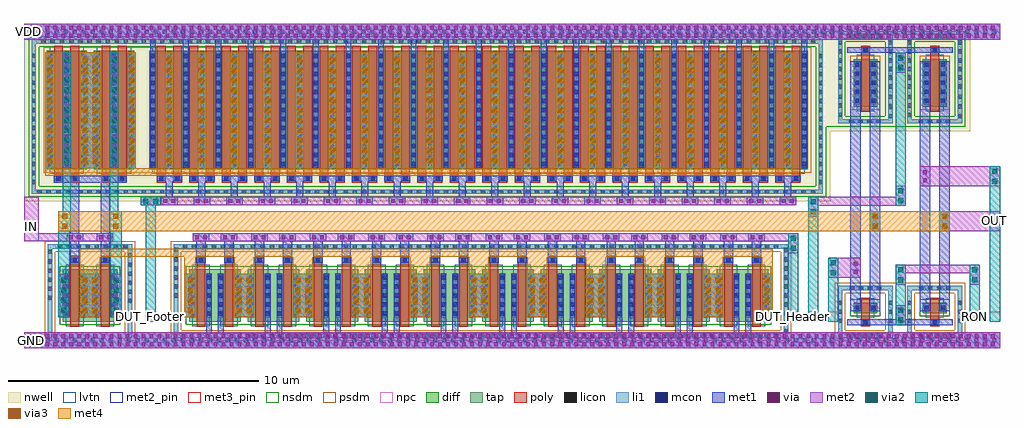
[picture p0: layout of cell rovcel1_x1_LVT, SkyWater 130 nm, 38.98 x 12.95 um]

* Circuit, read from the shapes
.subckt rovcel1_x1_LVT DUT_Footer DUT_Header Drain_Force Drain_Sense GND IN OUT RO RON VDD
XM1 n1 IN OUT GND sky130_fd_pr__nfet_01v8_lvt w=2.1 l=0.35 m=2
XM2 GND DUT_Header n1 GND sky130_fd_pr__nfet_01v8_lvt w=2.1 l=0.35 m=20
XM3 OUT RON Drain_Force GND sky130_fd_pr__nfet_01v8_lvt w=0.42 l=0.35
XM4 OUT RON Drain_Sense GND sky130_fd_pr__nfet_01v8_lvt w=0.42 l=0.35
XM5 OUT IN n2 VDD sky130_fd_pr__pfet_01v8_lvt w=4.75 l=0.35 m=4
XM6 n2 DUT_Footer VDD VDD sky130_fd_pr__pfet_01v8_lvt w=4.75 l=0.35 m=40
XM7 OUT RO Drain_Force VDD sky130_fd_pr__pfet_01v8_lvt w=1.9 l=0.35
XM8 OUT RO Drain_Sense VDD sky130_fd_pr__pfet_01v8_lvt w=1.9 l=0.35
.ends

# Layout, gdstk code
from math import pi, radians
import gdstk
lib = gdstk.Library(unit=1e-6, precision=1e-09)
def R(c, l, rs):  # rectangles x0, y0, x1, y1
    for r in rs: c.add(gdstk.rectangle(r[:2], r[2:], *l))
def A(c, l, x, y, w, h, nx, ny, dx, dy):  # array of equal rectangles
    R(c, l, [(x+i*dx, y+j*dy, x+i*dx+w, y+j*dy+h) for i in range(nx) for j in range(ny)])
def P(c, l, *ps):  # polygons
    for p in ps: c.add(gdstk.Polygon(p, *l))
nwell = (64, 20)
diff = (65, 20)
tap = (65, 44)
poly = (66, 20)
licon = (66, 44)
li1 = (67, 20)
mcon = (67, 44)
met1 = (68, 20)
via = (68, 44)
met2_pin = (69, 16)
met2 = (69, 20)
via2 = (69, 44)
met3_pin = (70, 16)
met3 = (70, 20)
via3 = (70, 44)
met4 = (71, 20)
nsdm = (93, 44)
psdm = (94, 20)
npc = (95, 20)
lvtn = (125, 44)

vias_gen_21 = lib.new_cell('vias_gen$21')
R(vias_gen_21, li1, [(0,0,38.975,0.64)])
A(vias_gen_21, mcon, 0.14, 0.235, 0.17, 0.17, 108, 1, 0.36, 0)
R(vias_gen_21, met1, [(0,0,38.975,0.64)])
A(vias_gen_21, via, 0.215, 0.085, 0.15, 0.15, 121, 2, 0.32, 0.32)
R(vias_gen_21, met2, [(0,0,38.975,0.64)])

pfet_4 = lib.new_cell('pfet$4')
R(pfet_4, nwell, [(-0.305,-0.72,1.255,5.13)])
R(pfet_4, diff, [(0,0,0.95,4.75)])
R(pfet_4, poly, [(0.3,-0.53,0.65,-0.2), (0.3,-0.2,0.65,4.95)])
A(pfet_4, licon, 0.065, 0.13, 0.17, 0.17, 1, 13, 0, 0.36)
A(pfet_4, licon, 0.715, 0.13, 0.17, 0.17, 1, 13, 0, 0.36)
R(pfet_4, licon, [(0.39,-0.45,0.56,-0.28)])
R(pfet_4, li1, [(0.31,-0.45,0.64,-0.28), (0.065,0.05,0.235,4.7), (0.715,0.05,0.885,4.7)])
A(pfet_4, mcon, 0.065, 0.13, 0.17, 0.17, 1, 13, 0, 0.36)
A(pfet_4, mcon, 0.715, 0.13, 0.17, 0.17, 1, 13, 0, 0.36)
R(pfet_4, mcon, [(0.39,-0.45,0.56,-0.28)])
R(pfet_4, met1, [(0.29,-0.48,0.66,-0.25), (0.035,0.07,0.265,4.68), (0.685,0.07,0.915,4.68)])
R(pfet_4, psdm, [(-0.125,-0.125,1.075,4.875)])
R(pfet_4, npc, [(0.29,-0.54,0.66,-0.19)])
R(pfet_4, lvtn, [(0.12,-0.18,0.83,4.93)])

vias_gen_28 = lib.new_cell('vias_gen$28')
R(vias_gen_28, met1, [(0,0,1.73,0.8)])
A(vias_gen_28, via, 0.15, 0.165, 0.15, 0.15, 5, 2, 0.32, 0.32)
R(vias_gen_28, met2, [(0,0,1.73,0.8)])
A(vias_gen_28, via2, 0.165, 0.1, 0.2, 0.2, 4, 2, 0.4, 0.4)
R(vias_gen_28, met3, [(0,0,1.73,0.8)])
A(vias_gen_28, via3, 0.165, 0.1, 0.2, 0.2, 4, 2, 0.4, 0.4)
R(vias_gen_28, met4, [(0,0,1.73,0.8)])

nfet = lib.new_cell('nfet')
R(nfet, diff, [(0,0,0.95,2.1)])
R(nfet, poly, [(0.3,-0.2,0.65,2.3), (0.3,2.3,0.65,2.63)])
A(nfet, licon, 0.065, 0.245, 0.17, 0.17, 1, 5, 0, 0.36)
A(nfet, licon, 0.715, 0.245, 0.17, 0.17, 1, 5, 0, 0.36)
R(nfet, licon, [(0.39,2.38,0.56,2.55)])
R(nfet, li1, [(0.065,0.165,0.235,1.935), (0.715,0.165,0.885,1.935), (0.31,2.38,0.64,2.55)])
A(nfet, mcon, 0.065, 0.245, 0.17, 0.17, 1, 5, 0, 0.36)
A(nfet, mcon, 0.715, 0.245, 0.17, 0.17, 1, 5, 0, 0.36)
R(nfet, mcon, [(0.39,2.38,0.56,2.55)])
R(nfet, met1, [(0.035,0.185,0.265,1.915), (0.685,0.185,0.915,1.915), (0.29,2.35,0.66,2.58)])
R(nfet, nsdm, [(-0.125,-0.125,1.075,2.225)])
R(nfet, npc, [(0.29,2.29,0.66,2.64)])
R(nfet, lvtn, [(0.12,-0.18,0.83,2.28)])

nfet_4 = lib.new_cell('nfet$4')
R(nfet_4, diff, [(0,0,0.95,0.42)])
R(nfet_4, poly, [(0.3,-0.53,0.65,-0.2), (0.3,-0.2,0.65,0.62)])
R(nfet_4, licon, [(0.39,-0.45,0.56,-0.28), (0.065,0.125,0.235,0.295), (0.715,0.125,0.885,0.295)])
R(nfet_4, li1, [(0.31,-0.45,0.64,-0.28), (0.065,0.045,0.235,0.375), (0.715,0.045,0.885,0.375)])
R(nfet_4, mcon, [(0.39,-0.45,0.56,-0.28), (0.065,0.125,0.235,0.295), (0.715,0.125,0.885,0.295)])
R(nfet_4, met1, [(0.29,-0.48,0.66,-0.25), (0.005,0.065,0.295,0.355), (0.655,0.065,0.945,0.355)])
R(nfet_4, nsdm, [(-0.125,-0.125,1.075,0.545)])
R(nfet_4, npc, [(0.29,-0.54,0.66,-0.19)])
R(nfet_4, lvtn, [(0.12,-0.18,0.83,0.6)])

vias_gen_43 = lib.new_cell('vias_gen$43')
R(vias_gen_43, met1, [(0,0,4.63,0.33)])
A(vias_gen_43, via, 0.16, 0.09, 0.15, 0.15, 14, 1, 0.32, 0)
R(vias_gen_43, met2, [(0,0,4.63,0.33)])
A(vias_gen_43, via2, 0.215, 0.065, 0.2, 0.2, 11, 1, 0.4, 0)
R(vias_gen_43, met3, [(0,0,4.63,0.33)])
A(vias_gen_43, via3, 0.215, 0.065, 0.2, 0.2, 11, 1, 0.4, 0)
R(vias_gen_43, met4, [(0,0,4.63,0.33)])

vias_gen_37 = lib.new_cell('vias_gen$37')
R(vias_gen_37, met2, [(0,0,0.4,0.8)])
R(vias_gen_37, via2, [(0.1,0.1,0.3,0.3), (0.1,0.5,0.3,0.7)])
R(vias_gen_37, met3, [(0,0,0.4,0.8)])

vias_gen_20 = lib.new_cell('vias_gen$20')
R(vias_gen_20, met1, [(0,0,0.42,0.8)])
R(vias_gen_20, via, [(0.135,0.165,0.285,0.315), (0.135,0.485,0.285,0.635)])
R(vias_gen_20, met2, [(0,0,0.42,0.8)])

vias_gen_22 = lib.new_cell('vias_gen$22')
R(vias_gen_22, met1, [(0,0,0.42,0.8)])
R(vias_gen_22, via, [(0.135,0.165,0.285,0.315), (0.135,0.485,0.285,0.635)])
R(vias_gen_22, met2, [(0,0,0.42,0.8)])
R(vias_gen_22, via2, [(0.11,0.1,0.31,0.3), (0.11,0.5,0.31,0.7)])
R(vias_gen_22, met3, [(0,0,0.42,0.8)])
R(vias_gen_22, via3, [(0.11,0.1,0.31,0.3), (0.11,0.5,0.31,0.7)])
R(vias_gen_22, met4, [(0,0,0.42,0.8)])

vias_gen_18 = lib.new_cell('vias_gen$18')
R(vias_gen_18, met1, [(0,0,0.4,0.8)])
R(vias_gen_18, via, [(0.125,0.165,0.275,0.315), (0.125,0.485,0.275,0.635)])
R(vias_gen_18, met2, [(0,0,0.4,0.8)])
R(vias_gen_18, via2, [(0.1,0.1,0.3,0.3), (0.1,0.5,0.3,0.7)])
R(vias_gen_18, met3, [(0,0,0.4,0.8)])

vias_gen_33 = lib.new_cell('vias_gen$33')
R(vias_gen_33, met1, [(0,0,0.66,0.33)])
R(vias_gen_33, via, [(0.095,0.09,0.245,0.24), (0.415,0.09,0.565,0.24)])
R(vias_gen_33, met2, [(0,0,0.66,0.33)])

pfet_5 = lib.new_cell('pfet$5')
R(pfet_5, nwell, [(-0.305,-0.38,1.255,2.62)])
R(pfet_5, diff, [(0,0,0.95,1.9)])
R(pfet_5, poly, [(0.3,-0.2,0.65,2.1), (0.3,2.1,0.65,2.43)])
A(pfet_5, licon, 0.065, 0.145, 0.17, 0.17, 1, 5, 0, 0.36)
A(pfet_5, licon, 0.715, 0.145, 0.17, 0.17, 1, 5, 0, 0.36)
R(pfet_5, licon, [(0.39,2.18,0.56,2.35)])
R(pfet_5, li1, [(0.065,0.065,0.235,1.835), (0.715,0.065,0.885,1.835), (0.31,2.18,0.64,2.35)])
A(pfet_5, mcon, 0.065, 0.145, 0.17, 0.17, 1, 5, 0, 0.36)
A(pfet_5, mcon, 0.715, 0.145, 0.17, 0.17, 1, 5, 0, 0.36)
R(pfet_5, mcon, [(0.39,2.18,0.56,2.35)])
R(pfet_5, met1, [(0.035,0.085,0.265,1.815), (0.685,0.085,0.915,1.815), (0.29,2.15,0.66,2.38)])
R(pfet_5, psdm, [(-0.125,-0.125,1.075,2.025)])
R(pfet_5, npc, [(0.29,2.09,0.66,2.44)])
R(pfet_5, lvtn, [(0.12,-0.18,0.83,2.08)])

vias_gen_27 = lib.new_cell('vias_gen$27')
R(vias_gen_27, met1, [(0,0,1.73,0.45)])
A(vias_gen_27, via, 0.15, 0.15, 0.15, 0.15, 5, 1, 0.32, 0)
R(vias_gen_27, met2, [(0,0,1.73,0.45)])
A(vias_gen_27, via2, 0.165, 0.125, 0.2, 0.2, 4, 1, 0.4, 0)
R(vias_gen_27, met3, [(0,0,1.73,0.45)])
A(vias_gen_27, via3, 0.165, 0.125, 0.2, 0.2, 4, 1, 0.4, 0)
R(vias_gen_27, met4, [(0,0,1.73,0.45)])

vias_gen_30 = lib.new_cell('vias_gen$30')
R(vias_gen_30, met1, [(0,0,0.82,1.73)])
A(vias_gen_30, via, 0.175, 0.15, 0.15, 0.15, 1, 5, 0, 0.32)
A(vias_gen_30, via, 0.495, 0.15, 0.15, 0.15, 1, 5, 0, 0.32)
R(vias_gen_30, met2, [(0,0,0.82,1.73)])
A(vias_gen_30, via2, 0.11, 0.165, 0.2, 0.2, 1, 4, 0, 0.4)
A(vias_gen_30, via2, 0.51, 0.165, 0.2, 0.2, 1, 4, 0, 0.4)
R(vias_gen_30, met3, [(0,0,0.82,1.73)])
A(vias_gen_30, via3, 0.11, 0.165, 0.2, 0.2, 1, 4, 0, 0.4)
A(vias_gen_30, via3, 0.51, 0.165, 0.2, 0.2, 1, 4, 0, 0.4)
R(vias_gen_30, met4, [(0,0,0.82,1.73)])

vias_gen_16 = lib.new_cell('vias_gen$16')
R(vias_gen_16, met1, [(0,0,4.61,0.33)])
A(vias_gen_16, via, 0.15, 0.09, 0.15, 0.15, 14, 1, 0.32, 0)
R(vias_gen_16, met2, [(0,0,4.61,0.33)])
A(vias_gen_16, via2, 0.205, 0.065, 0.2, 0.2, 11, 1, 0.4, 0)
R(vias_gen_16, met3, [(0,0,4.61,0.33)])

vias_gen_36 = lib.new_cell('vias_gen$36')
R(vias_gen_36, met2, [(0,0,0.8,0.33)])
R(vias_gen_36, via2, [(0.1,0.065,0.3,0.265), (0.5,0.065,0.7,0.265)])
R(vias_gen_36, met3, [(0,0,0.8,0.33)])

vias_gen_34 = lib.new_cell('vias_gen$34')
R(vias_gen_34, met3, [(0,0,0.5,0.8)])
R(vias_gen_34, via3, [(0.15,0.1,0.35,0.3), (0.15,0.5,0.35,0.7)])
R(vias_gen_34, met4, [(0,0,0.5,0.8)])

vias_gen_31 = lib.new_cell('vias_gen$31')
R(vias_gen_31, met3, [(0,0,0.47,0.8)])
R(vias_gen_31, via3, [(0.135,0.1,0.335,0.3), (0.135,0.5,0.335,0.7)])
R(vias_gen_31, met4, [(0,0,0.47,0.8)])

vias_gen_12 = lib.new_cell('vias_gen$12')
R(vias_gen_12, met1, [(0,0,1.73,0.45)])
A(vias_gen_12, via, 0.15, 0.15, 0.15, 0.15, 5, 1, 0.32, 0)
R(vias_gen_12, met2, [(0,0,1.73,0.45)])
A(vias_gen_12, via2, 0.165, 0.125, 0.2, 0.2, 4, 1, 0.4, 0)
R(vias_gen_12, met3, [(0,0,1.73,0.45)])

vias_gen_55 = lib.new_cell('vias_gen$55')
R(vias_gen_55, met1, [(0,0,0.82,4.63)])
A(vias_gen_55, via, 0.175, 0.16, 0.15, 0.15, 1, 14, 0, 0.32)
A(vias_gen_55, via, 0.495, 0.16, 0.15, 0.15, 1, 14, 0, 0.32)
R(vias_gen_55, met2, [(0,0,0.82,4.63)])
A(vias_gen_55, via2, 0.11, 0.215, 0.2, 0.2, 1, 11, 0, 0.4)
A(vias_gen_55, via2, 0.51, 0.215, 0.2, 0.2, 1, 11, 0, 0.4)
R(vias_gen_55, met3, [(0,0,0.82,4.63)])
A(vias_gen_55, via3, 0.11, 0.215, 0.2, 0.2, 1, 11, 0, 0.4)
A(vias_gen_55, via3, 0.51, 0.215, 0.2, 0.2, 1, 11, 0, 0.4)
R(vias_gen_55, met4, [(0,0,0.82,4.63)])

vias_gen_56 = lib.new_cell('vias_gen$56')
R(vias_gen_56, met1, [(0,0,0.38,4.63)])
A(vias_gen_56, via, 0.115, 0.16, 0.15, 0.15, 1, 14, 0, 0.32)
R(vias_gen_56, met2, [(0,0,0.38,4.63)])
A(vias_gen_56, via2, 0.09, 0.215, 0.2, 0.2, 1, 11, 0, 0.4)
R(vias_gen_56, met3, [(0,0,0.38,4.63)])
A(vias_gen_56, via3, 0.09, 0.215, 0.2, 0.2, 1, 11, 0, 0.4)
R(vias_gen_56, met4, [(0,0,0.38,4.63)])

vias_gen = lib.new_cell('vias_gen')

pfet_2 = lib.new_cell('pfet$2')

vias_gen_2 = lib.new_cell('vias_gen$2')

vias_gen_10 = lib.new_cell('vias_gen$10')

vias_gen_7 = lib.new_cell('vias_gen$7')

vias_gen_6 = lib.new_cell('vias_gen$6')

nfet_2 = lib.new_cell('nfet$2')

rovcel1_x1_lvt = lib.new_cell('rovcel1_x1_LVT')
R(rovcel1_x1_lvt, nwell, [(0.005,18.995,32.21,25.775), (32.21,21.805,35,25.965), (35,21.805,37.79,25.965)])
A(rovcel1_x1_lvt, diff, 7.545, 14.19, 0.17, 2.1, 4, 1, 2.34, 0)
A(rovcel1_x1_lvt, diff, 16.91, 14.19, 0.17, 2.1, 6, 1, 2.34, 0)
R(rovcel1_x1_lvt, diff, [(2.51,14.19,2.77,16.29)])
R(rovcel1_x1_lvt, tap, [(0.96,13.555,1.13,17.275), (4.15,13.555,4.32,17.275), (5.995,13.555,6.165,17.275), (6.165,13.555,30.345,13.725), (30.345,13.555,30.515,17.275), (1.13,17.105,4.15,17.275), (6.165,17.105,30.345,17.275), (0.31,19.3,31.91,19.47), (0.48,19.3,4.36,19.47), (31.74,19.3,31.91,25.3), (0.31,19.305,0.48,25.305), (0.31,25.3,31.91,25.47)])
P(rovcel1_x1_lvt, tap, [(32.515,22.11),(32.515,25.49),(32.685,25.49),(32.685,22.28),(34.525,22.28),(34.525,25.49),(32.515,25.49),(32.515,25.66),(34.695,25.66),(34.695,22.11)],
  [(35.285,22.11),(35.285,25.49),(35.455,25.49),(35.455,22.28),(37.295,22.28),(37.295,25.49),(35.285,25.49),(35.285,25.66),(37.465,25.66),(37.465,22.11)],
  [(32.515,22.11),(32.515,25.49),(32.685,25.49),(32.685,22.28),(34.525,22.28),(34.525,25.49),(32.515,25.49),(32.515,25.66),(34.695,25.66),(34.695,22.11)],
  [(32.515,13.555),(32.515,15.455),(32.685,15.455),(32.685,13.725),(34.525,13.725),(34.525,15.455),(32.515,15.455),(32.515,15.625),(34.695,15.625),(34.695,13.555)],
  [(35.285,13.555),(35.285,15.455),(35.455,15.455),(35.455,13.725),(37.295,13.725),(37.295,15.455),(35.285,15.455),(35.285,15.625),(37.465,15.625),(37.465,13.555)])
A(rovcel1_x1_lvt, licon, 9.825, 13.555, 0.17, 0.17, 8, 2, 0.36, 3.55)
A(rovcel1_x1_lvt, licon, 13.13, 13.555, 0.17, 0.17, 3, 2, 0.38, 3.55)
A(rovcel1_x1_lvt, licon, 14.25, 13.555, 0.17, 0.17, 9, 2, 0.36, 3.55)
A(rovcel1_x1_lvt, licon, 17.89, 13.555, 0.17, 0.17, 8, 2, 0.36, 3.55)
A(rovcel1_x1_lvt, licon, 20.81, 13.555, 0.17, 0.17, 6, 2, 0.36, 3.55)
A(rovcel1_x1_lvt, licon, 23.395, 13.555, 0.17, 0.17, 3, 2, 0.38, 3.55)
A(rovcel1_x1_lvt, licon, 24.515, 13.555, 0.17, 0.17, 9, 2, 0.36, 3.55)
A(rovcel1_x1_lvt, licon, 28.155, 13.555, 0.17, 0.17, 6, 2, 0.36, 3.55)
A(rovcel1_x1_lvt, licon, 32.98, 13.555, 0.17, 0.17, 4, 2, 0.36, 1.9)
A(rovcel1_x1_lvt, licon, 35.75, 13.555, 0.17, 0.17, 4, 2, 0.36, 1.9)
A(rovcel1_x1_lvt, licon, 30.345, 14.07, 0.17, 0.17, 1, 8, 0, 0.36)
A(rovcel1_x1_lvt, licon, 32.515, 14.145, 0.17, 0.17, 1, 3, 0, 0.36)
A(rovcel1_x1_lvt, licon, 34.525, 14.145, 0.17, 0.17, 1, 3, 0, 0.36)
A(rovcel1_x1_lvt, licon, 35.285, 14.145, 0.17, 0.17, 1, 3, 0, 0.36)
A(rovcel1_x1_lvt, licon, 37.295, 14.145, 0.17, 0.17, 1, 3, 0, 0.36)
A(rovcel1_x1_lvt, licon, 4.15, 14.94, 0.17, 0.17, 1, 5, 0, 0.36)
A(rovcel1_x1_lvt, licon, 0.96, 15.065, 0.17, 0.17, 1, 5, 0, 0.36)
A(rovcel1_x1_lvt, licon, 5.995, 15.15, 0.17, 0.17, 1, 5, 0, 0.36)
A(rovcel1_x1_lvt, licon, 2.11, 17.105, 0.17, 0.17, 3, 1, 0.36, 0)
A(rovcel1_x1_lvt, licon, 7.145, 17.105, 0.17, 0.17, 3, 1, 0.36, 0)
A(rovcel1_x1_lvt, licon, 2.18, 19.3, 0.17, 0.17, 7, 2, 0.36, 6)
A(rovcel1_x1_lvt, licon, 5.065, 19.3, 0.17, 0.17, 3, 2, 0.38, 6)
A(rovcel1_x1_lvt, licon, 6.185, 19.3, 0.17, 0.17, 9, 2, 0.36, 6)
A(rovcel1_x1_lvt, licon, 9.825, 19.3, 0.17, 0.17, 8, 2, 0.36, 6)
A(rovcel1_x1_lvt, licon, 13.13, 19.3, 0.17, 0.17, 3, 2, 0.38, 6)
A(rovcel1_x1_lvt, licon, 14.25, 19.3, 0.17, 0.17, 9, 2, 0.36, 6)
A(rovcel1_x1_lvt, licon, 17.89, 19.3, 0.17, 0.17, 8, 2, 0.36, 6)
A(rovcel1_x1_lvt, licon, 20.81, 19.3, 0.17, 0.17, 6, 2, 0.36, 6)
A(rovcel1_x1_lvt, licon, 23.395, 19.3, 0.17, 0.17, 3, 2, 0.38, 6)
A(rovcel1_x1_lvt, licon, 24.515, 19.3, 0.17, 0.17, 9, 2, 0.36, 6)
A(rovcel1_x1_lvt, licon, 28.155, 19.3, 0.17, 0.17, 8, 2, 0.36, 6)
A(rovcel1_x1_lvt, licon, 31.74, 19.68, 0.17, 0.17, 1, 15, 0, 0.36)
A(rovcel1_x1_lvt, licon, 0.31, 19.685, 0.17, 0.17, 1, 15, 0, 0.36)
A(rovcel1_x1_lvt, licon, 32.965, 22.11, 0.17, 0.17, 4, 1, 0.36, 0)
A(rovcel1_x1_lvt, licon, 35.735, 22.11, 0.17, 0.17, 4, 1, 0.36, 0)
A(rovcel1_x1_lvt, licon, 35.285, 24.54, 0.17, 0.17, 1, 3, 0, 0.36)
A(rovcel1_x1_lvt, licon, 37.295, 24.54, 0.17, 0.17, 1, 3, 0, 0.36)
A(rovcel1_x1_lvt, licon, 1.06, 25.3, 0.17, 0.17, 3, 1, 0.38, 0)
A(rovcel1_x1_lvt, licon, 32.98, 25.49, 0.17, 0.17, 4, 1, 0.36, 0)
A(rovcel1_x1_lvt, licon, 35.75, 25.49, 0.17, 0.17, 4, 1, 0.36, 0)
R(rovcel1_x1_lvt, licon, [(8.535,13.555,8.705,13.725), (8.98,13.555,9.15,13.725), (9.445,13.555,9.615,13.725), (12.77,13.555,12.94,13.725), (17.51,13.555,17.68,13.725), (23.035,13.555,23.205,13.725), (27.775,13.555,27.945,13.725), (30.345,13.725,30.515,13.895), (4.15,16.755,4.32,16.925), (0.96,16.9,1.13,17.07), (30.345,16.97,30.515,17.14), (5.995,16.975,6.165,17.145), (3.19,17.1,3.36,17.27), (8.225,17.1,8.395,17.27), (1.36,17.105,1.53,17.275), (1.72,17.105,1.89,17.275), (3.585,17.105,3.755,17.275), (3.97,17.105,4.14,17.275), (6.35,17.105,6.52,17.275), (6.71,17.105,6.88,17.275), (8.635,17.105,8.805,17.275), (9.055,17.105,9.225,17.275), (9.445,17.105,9.615,17.275), (12.77,17.105,12.94,17.275), (17.51,17.105,17.68,17.275), (23.035,17.105,23.205,17.275), (27.775,17.105,27.945,17.275), (0.54,19.3,0.71,19.47), (0.9,19.3,1.07,19.47), (1.295,19.3,1.465,19.47), (1.295,19.3,1.465,19.47), (1.69,19.3,1.86,19.47), (1.69,19.3,1.86,19.47), (4.705,19.3,4.875,19.47), (9.445,19.3,9.615,19.47), (12.77,19.3,12.94,19.47), (17.51,19.3,17.68,19.47), (23.035,19.3,23.205,19.47), (27.775,19.3,27.945,19.47), (31.045,19.3,31.215,19.47), (31.44,19.3,31.61,19.47), (34.525,22.315,34.695,22.485), (37.295,22.315,37.465,22.485), (32.515,22.375,32.685,22.545), (35.285,22.375,35.455,22.545), (34.525,22.695,34.695,22.865), (37.295,22.695,37.465,22.865), (32.515,22.735,32.685,22.905), (35.285,22.735,35.455,22.905), (32.515,23.09,32.685,23.26), (34.525,23.09,34.695,23.26), (35.285,23.09,35.455,23.26), (37.295,23.09,37.465,23.26), (32.515,23.495,32.685,23.665), (34.525,23.495,34.695,23.665), (35.285,23.495,35.455,23.665), (37.295,23.495,37.465,23.665), (32.515,23.855,32.685,24.025), (34.525,23.855,34.695,24.025), (35.285,23.855,35.455,24.025), (37.295,23.855,37.465,24.025), (32.515,24.2,32.685,24.37), (34.525,24.2,34.695,24.37), (35.285,24.2,35.455,24.37), (37.295,24.2,37.465,24.37), (32.515,24.54,32.685,24.71), (34.525,24.54,34.695,24.71), (32.515,24.9,32.685,25.07), (34.525,24.9,34.695,25.07), (32.515,25.25,32.685,25.42), (34.525,25.25,34.695,25.42), (0.7,25.3,0.87,25.47), (4.705,25.3,4.875,25.47), (9.445,25.3,9.615,25.47), (12.77,25.3,12.94,25.47), (17.51,25.3,17.68,25.47), (23.035,25.3,23.205,25.47), (27.775,25.3,27.945,25.47), (31.045,25.3,31.215,25.47), (31.44,25.3,31.61,25.47)])
R(rovcel1_x1_lvt, li1, [(0.96,13.555,1.13,17.275), (4.15,13.555,4.32,17.275), (5.995,13.555,6.165,17.275), (6.165,13.555,30.345,13.725), (30.345,13.555,30.515,17.275), (1.13,17.105,4.15,17.275), (6.165,17.105,30.345,17.275), (0.31,19.3,31.91,19.47), (31.74,19.3,31.91,25.3), (0.31,19.305,0.48,25.305), (0.31,25.3,31.91,25.47)])
P(rovcel1_x1_lvt, li1, [(32.515,22.11),(32.515,25.49),(32.685,25.49),(32.685,22.28),(34.525,22.28),(34.525,25.49),(32.515,25.49),(32.515,25.66),(34.695,25.66),(34.695,22.11)],
  [(35.285,22.11),(35.285,25.49),(35.455,25.49),(35.455,22.28),(37.295,22.28),(37.295,25.49),(35.285,25.49),(35.285,25.66),(37.465,25.66),(37.465,22.11)],
  [(32.515,13.555),(32.515,15.455),(32.685,15.455),(32.685,13.725),(34.525,13.725),(34.525,15.455),(32.515,15.455),(32.515,15.625),(34.695,15.625),(34.695,13.555)],
  [(35.285,13.555),(35.285,15.455),(35.455,15.455),(35.455,13.725),(37.295,13.725),(37.295,15.455),(35.285,15.455),(35.285,15.625),(37.465,15.625),(37.465,13.555)])
R(rovcel1_x1_lvt, mcon, [(33.52,14.085,33.69,14.255)])
A(rovcel1_x1_lvt, met1, 5.67, 19.175, 0.28, 0.845, 20, 1, 1.3, 0)
A(rovcel1_x1_lvt, met1, 5.045, 24.95, 0.23, 0.495, 21, 1, 1.3, 0)
R(rovcel1_x1_lvt, met1, [(7.28,13.775,7.51,14.375), (7.75,13.775,7.98,14.375), (9.62,13.775,9.85,14.375), (10.09,13.775,10.32,14.375), (10.09,13.775,10.32,14.375), (11.96,13.775,12.19,14.375), (12.43,13.775,12.66,14.375), (14.3,13.775,14.53,14.375), (14.77,13.775,15,14.375), (16.645,13.775,16.875,14.375), (17.115,13.775,17.345,14.375), (18.985,13.775,19.215,14.375), (19.455,13.775,19.685,14.375), (21.325,13.775,21.555,14.375), (21.795,13.775,22.025,14.375), (23.665,13.775,23.895,14.375), (24.135,13.775,24.365,14.375), (26.005,13.775,26.235,14.375), (26.475,13.775,26.705,14.375), (28.345,13.775,28.575,14.375), (28.815,13.775,29.045,14.375), (32.88,14.055,34.33,14.285), (33.42,14.055,33.79,14.285), (34.33,14.055,35.65,14.285), (35.65,14.055,37.1,14.285), (33.005,14.6,33.425,24.595), (33.785,14.6,34.205,24.595), (35.775,14.6,36.195,24.6), (36.555,14.6,36.975,24.6), (1.85,16.77,2.22,17.4), (3.06,16.77,3.43,17.4), (6.885,16.77,7.255,17.73), (8.005,16.77,8.375,17.73), (9.225,16.77,9.595,17.73), (10.345,16.77,10.715,17.73), (11.565,16.77,11.935,17.73), (12.685,16.77,13.055,17.73), (13.905,16.77,14.275,17.73), (15.025,16.77,15.395,17.73), (16.25,16.77,16.62,17.73), (17.37,16.77,17.74,17.73), (18.59,16.77,18.96,17.73), (19.71,16.77,20.08,17.73), (20.93,16.77,21.3,17.73), (22.05,16.77,22.42,17.73), (23.27,16.77,23.64,17.73), (24.39,16.77,24.76,17.73), (25.61,16.77,25.98,17.73), (26.73,16.77,27.1,17.73), (27.95,16.77,28.32,17.73), (29.07,16.77,29.44,17.73), (1.85,17.73,2.22,20.02), (3.06,17.73,3.43,20.02), (1.2,19.73,4.11,20.02), (32.88,24.93,34.33,25.16), (34.33,24.93,35.65,25.16), (35.65,24.93,37.1,25.16)])
R(rovcel1_x1_lvt, met2_pin, [(0.005,13.135,38.98,13.775), (0.005,17.4,0.595,19.18), (0.005,17.4,0.595,19.18), (38.58,17.8,38.98,18.6), (0.005,25.445,38.98,26.085)])
R(rovcel1_x1_lvt, met2, [(32.515,15.945,33.005,16.745), (34.81,16.125,37.78,16.475), (0.005,17.4,3.575,17.73), (6.74,17.4,30.915,17.73), (0.005,17.73,0.595,19.18), (0.005,17.73,0.595,19.18), (36.975,17.8,38.98,18.6), (31.715,18.825,34.81,19.175), (5.475,18.845,30.835,19.175), (36.195,19.595,38.58,20.395)])
A(rovcel1_x1_lvt, met3_pin, 30.515, 14.19, 0.4, 0.4, 3, 1, 0.8, 0)
R(rovcel1_x1_lvt, met3_pin, [(4.875,14.19,5.275,14.59), (37.78,14.19,38.18,14.59), (38.58,14.19,38.98,14.59)])
R(rovcel1_x1_lvt, met3, [(4.875,14.19,5.275,18.845), (30.515,14.19,30.915,16.93), (31.315,14.19,31.715,18.375), (32.115,14.19,32.515,15.945), (37.78,14.19,38.18,15.675), (38.58,14.19,38.98,19.595), (34.81,14.855,35.21,15.675), (1.375,16.105,1.825,17.8), (1.545,18.6,1.875,20.34), (3.435,18.6,3.765,20.34), (34.81,19.625,35.21,24.13)])
P(rovcel1_x1_lvt, met3, [(3.455,16.105),(3.455,17.8),(3.54,17.8),(3.905,17.8),(3.905,16.105)])
A(rovcel1_x1_lvt, met4, 8.4, 16.105, 0.8, 0.68, 5, 1, 2.34, 0)
A(rovcel1_x1_lvt, met4, 20.105, 16.105, 0.8, 0.68, 4, 1, 2.34, 0)
R(rovcel1_x1_lvt, met4, [(2.23,16.105,3.05,16.785), (6.41,16.105,6.86,16.785), (29.465,16.105,29.915,16.785), (2.23,16.785,29.915,17.105), (1.875,17.8,36.975,18.6), (0.845,20.02,30.675,20.32)])
R(rovcel1_x1_lvt, nsdm, [(2.635,14.065,2.645,16.415), (6.47,14.065,29.855,16.415), (0.185,19.175,32.035,19.595), (0.605,19.175,32.035,19.595), (0.185,19.595,0.605,25.175), (31.615,19.595,32.035,25.175), (32.035,21.985,32.39,25.785), (34.82,21.985,35.16,25.785), (0.185,25.175,32.035,25.595)])
P(rovcel1_x1_lvt, nsdm, [(32.39,21.985),(32.39,25.365),(32.81,25.365),(32.81,22.405),(34.4,22.405),(34.4,25.365),(32.39,25.365),(32.39,25.785),(34.82,25.785),(34.82,21.985)],
  [(35.16,21.985),(35.16,25.365),(35.58,25.365),(35.58,22.405),(37.17,22.405),(37.17,25.365),(35.16,25.365),(35.16,25.785),(37.59,25.785),(37.59,21.985)])
R(rovcel1_x1_lvt, psdm, [(0.835,13.43,1.255,17.4), (4.025,13.43,4.445,17.4), (5.87,13.43,6.29,17.4), (6.29,13.43,30.22,13.85), (30.22,13.43,30.64,17.4), (34.82,13.43,35.16,15.75), (1.255,16.98,4.025,17.4), (6.29,16.98,30.22,17.4), (2.635,20.145,4.885,25.145)])
P(rovcel1_x1_lvt, psdm, [(32.39,13.43),(32.39,15.33),(32.81,15.33),(32.81,13.85),(34.4,13.85),(34.4,15.33),(32.39,15.33),(32.39,15.75),(34.82,15.75),(34.82,13.43)],
  [(35.16,13.43),(35.16,15.33),(35.58,15.33),(35.58,13.85),(37.17,13.85),(37.17,15.33),(35.16,15.33),(35.16,15.75),(37.59,15.75),(37.59,13.43)])
rovcel1_x1_lvt.add(gdstk.Reference(vias_gen_21, (0.005,25.445)))
rovcel1_x1_lvt.add(gdstk.Reference(pfet_4, (14.76,20.27)))
rovcel1_x1_lvt.add(gdstk.Reference(pfet_4, (15.41,20.27)))
rovcel1_x1_lvt.add(gdstk.Reference(vias_gen_21, (0.005,13.135)))
rovcel1_x1_lvt.add(gdstk.Reference(vias_gen_28, (16.22,14.375), rotation=pi/2))
rovcel1_x1_lvt.add(gdstk.Reference(nfet, (15.685,14.19), rotation=pi, x_reflection=True))
rovcel1_x1_lvt.add(gdstk.Reference(nfet_4, (33.13,14.535)))
rovcel1_x1_lvt.add(gdstk.Reference(nfet_4, (35.9,14.535)))
rovcel1_x1_lvt.add(gdstk.Reference(vias_gen_43, (29.375,20.32), rotation=pi/2))
rovcel1_x1_lvt.add(gdstk.Reference(pfet_4, (29.06,20.27)))
rovcel1_x1_lvt.add(gdstk.Reference(pfet_4, (28.41,20.27)))
rovcel1_x1_lvt.add(gdstk.Reference(vias_gen_43, (30.675,20.32), rotation=pi/2))
rovcel1_x1_lvt.add(gdstk.Reference(pfet_4, (29.71,20.27)))
rovcel1_x1_lvt.add(gdstk.Reference(pfet_4, (30.36,20.27)))
rovcel1_x1_lvt.add(gdstk.Reference(vias_gen_43, (26.775,20.32), rotation=pi/2))
rovcel1_x1_lvt.add(gdstk.Reference(pfet_4, (25.16,20.27)))
rovcel1_x1_lvt.add(gdstk.Reference(pfet_4, (26.46,20.27)))
rovcel1_x1_lvt.add(gdstk.Reference(pfet_4, (27.11,20.27)))
rovcel1_x1_lvt.add(gdstk.Reference(pfet_4, (27.76,20.27)))
rovcel1_x1_lvt.add(gdstk.Reference(vias_gen_43, (25.475,20.32), rotation=pi/2))
rovcel1_x1_lvt.add(gdstk.Reference(vias_gen_43, (24.175,20.32), rotation=pi/2))
rovcel1_x1_lvt.add(gdstk.Reference(vias_gen_43, (22.875,20.32), rotation=pi/2))
rovcel1_x1_lvt.add(gdstk.Reference(vias_gen_37, (34.81,15.675)))
rovcel1_x1_lvt.add(gdstk.Reference(vias_gen_37, (37.78,15.675)))
rovcel1_x1_lvt.add(gdstk.Reference(vias_gen_43, (21.575,20.32), rotation=pi/2))
rovcel1_x1_lvt.add(gdstk.Reference(pfet_4, (25.81,20.27)))
rovcel1_x1_lvt.add(gdstk.Reference(pfet_4, (21.26,20.27)))
rovcel1_x1_lvt.add(gdstk.Reference(vias_gen_20, (33.005,15.945)))
rovcel1_x1_lvt.add(gdstk.Reference(vias_gen_37, (32.115,15.945)))
rovcel1_x1_lvt.add(gdstk.Reference(vias_gen_22, (36.555,17.8)))
rovcel1_x1_lvt.add(gdstk.Reference(vias_gen_20, (36.195,19.595), rotation=pi, x_reflection=True))
rovcel1_x1_lvt.add(gdstk.Reference(vias_gen_37, (38.98,19.595), rotation=pi, x_reflection=True))
rovcel1_x1_lvt.add(gdstk.Reference(vias_gen_22, (33.785,17.8)))
rovcel1_x1_lvt.add(gdstk.Reference(vias_gen_43, (28.075,20.32), rotation=pi/2))
rovcel1_x1_lvt.add(gdstk.Reference(pfet_4, (21.91,20.27)))
rovcel1_x1_lvt.add(gdstk.Reference(pfet_4, (22.56,20.27)))
rovcel1_x1_lvt.add(gdstk.Reference(pfet_4, (23.86,20.27)))
rovcel1_x1_lvt.add(gdstk.Reference(pfet_4, (23.21,20.27)))
rovcel1_x1_lvt.add(gdstk.Reference(pfet_4, (24.51,20.27)))
rovcel1_x1_lvt.add(gdstk.Reference(pfet_4, (20.61,20.27)))
rovcel1_x1_lvt.add(gdstk.Reference(vias_gen_43, (20.275,20.32), rotation=pi/2))
rovcel1_x1_lvt.add(gdstk.Reference(pfet_4, (16.71,20.27)))
rovcel1_x1_lvt.add(gdstk.Reference(pfet_4, (18.66,20.27)))
rovcel1_x1_lvt.add(gdstk.Reference(pfet_4, (17.36,20.27)))
rovcel1_x1_lvt.add(gdstk.Reference(vias_gen_37, (31.315,18.375)))
rovcel1_x1_lvt.add(gdstk.Reference(vias_gen_43, (18.975,20.32), rotation=pi/2))
rovcel1_x1_lvt.add(gdstk.Reference(vias_gen_43, (17.675,20.32), rotation=pi/2))
rovcel1_x1_lvt.add(gdstk.Reference(pfet_4, (19.31,20.27)))
rovcel1_x1_lvt.add(gdstk.Reference(pfet_4, (18.01,20.27)))
rovcel1_x1_lvt.add(gdstk.Reference(pfet_4, (19.96,20.27)))
rovcel1_x1_lvt.add(gdstk.Reference(pfet_4, (16.06,20.27)))
rovcel1_x1_lvt.add(gdstk.Reference(vias_gen_37, (34.81,18.825)))
rovcel1_x1_lvt.add(gdstk.Reference(vias_gen_18, (34.81,24.93), x_reflection=True))
rovcel1_x1_lvt.add(gdstk.Reference(vias_gen_43, (16.375,20.32), rotation=pi/2))
rovcel1_x1_lvt.add(gdstk.Reference(vias_gen_28, (18.565,14.375), rotation=pi/2))
rovcel1_x1_lvt.add(gdstk.Reference(vias_gen_33, (15.875,18.845)))
rovcel1_x1_lvt.add(gdstk.Reference(nfet, (16.91,14.19), rotation=pi, x_reflection=True))
rovcel1_x1_lvt.add(gdstk.Reference(vias_gen_33, (18.475,18.845)))
rovcel1_x1_lvt.add(gdstk.Reference(vias_gen_33, (19.775,18.845)))
rovcel1_x1_lvt.add(gdstk.Reference(vias_gen_33, (17.175,18.845)))
rovcel1_x1_lvt.add(gdstk.Reference(pfet_5, (33.13,22.78)))
rovcel1_x1_lvt.add(gdstk.Reference(pfet_5, (35.9,22.78)))
rovcel1_x1_lvt.add(gdstk.Reference(vias_gen_33, (18.445,17.4)))
rovcel1_x1_lvt.add(gdstk.Reference(vias_gen_33, (17.225,17.4)))
rovcel1_x1_lvt.add(gdstk.Reference(nfet, (19.25,14.19), rotation=pi, x_reflection=True))
rovcel1_x1_lvt.add(gdstk.Reference(vias_gen_33, (19.565,17.4)))
rovcel1_x1_lvt.add(gdstk.Reference(nfet, (18.03,14.19), rotation=pi, x_reflection=True))
rovcel1_x1_lvt.add(gdstk.Reference(nfet, (20.37,14.19), rotation=pi, x_reflection=True))
rovcel1_x1_lvt.add(gdstk.Reference(vias_gen_33, (16.105,17.4)))
rovcel1_x1_lvt.add(gdstk.Reference(vias_gen_18, (34.81,14.855), x_reflection=True))
rovcel1_x1_lvt.add(gdstk.Reference(nfet, (21.59,14.19), rotation=pi, x_reflection=True))
rovcel1_x1_lvt.add(gdstk.Reference(vias_gen_28, (20.905,14.375), rotation=pi/2))
rovcel1_x1_lvt.add(gdstk.Reference(vias_gen_28, (23.245,14.375), rotation=pi/2))
rovcel1_x1_lvt.add(gdstk.Reference(vias_gen_33, (26.585,17.4)))
rovcel1_x1_lvt.add(gdstk.Reference(nfet, (23.93,14.19), rotation=pi, x_reflection=True))
rovcel1_x1_lvt.add(gdstk.Reference(vias_gen_27, (29.915,14.375), rotation=pi/2))
rovcel1_x1_lvt.add(gdstk.Reference(vias_gen_37, (30.515,16.93)))
rovcel1_x1_lvt.add(gdstk.Reference(vias_gen_33, (27.575,18.845)))
rovcel1_x1_lvt.add(gdstk.Reference(vias_gen_33, (26.275,18.845)))
rovcel1_x1_lvt.add(gdstk.Reference(vias_gen_33, (24.975,18.845)))
rovcel1_x1_lvt.add(gdstk.Reference(vias_gen_33, (23.675,18.845)))
rovcel1_x1_lvt.add(gdstk.Reference(vias_gen_33, (22.375,18.845)))
rovcel1_x1_lvt.add(gdstk.Reference(vias_gen_33, (25.465,17.4)))
rovcel1_x1_lvt.add(gdstk.Reference(nfet, (25.05,14.19), rotation=pi, x_reflection=True))
rovcel1_x1_lvt.add(gdstk.Reference(vias_gen_33, (24.245,17.4)))
rovcel1_x1_lvt.add(gdstk.Reference(vias_gen_33, (23.125,17.4)))
rovcel1_x1_lvt.add(gdstk.Reference(vias_gen_33, (21.905,17.4)))
rovcel1_x1_lvt.add(gdstk.Reference(vias_gen_33, (20.785,17.4)))
rovcel1_x1_lvt.add(gdstk.Reference(vias_gen_33, (27.805,17.4)))
rovcel1_x1_lvt.add(gdstk.Reference(nfet, (28.61,14.19), rotation=pi, x_reflection=True))
rovcel1_x1_lvt.add(gdstk.Reference(vias_gen_28, (27.925,14.375), rotation=pi/2))
rovcel1_x1_lvt.add(gdstk.Reference(nfet, (27.39,14.19), rotation=pi, x_reflection=True))
rovcel1_x1_lvt.add(gdstk.Reference(nfet, (26.27,14.19), rotation=pi, x_reflection=True))
rovcel1_x1_lvt.add(gdstk.Reference(vias_gen_28, (25.585,14.375), rotation=pi/2))
rovcel1_x1_lvt.add(gdstk.Reference(vias_gen_33, (21.075,18.845)))
rovcel1_x1_lvt.add(gdstk.Reference(vias_gen_33, (28.875,18.845)))
rovcel1_x1_lvt.add(gdstk.Reference(nfet, (29.73,14.19), rotation=pi, x_reflection=True))
rovcel1_x1_lvt.add(gdstk.Reference(vias_gen_33, (28.925,17.4)))
rovcel1_x1_lvt.add(gdstk.Reference(vias_gen_33, (30.175,18.845)))
rovcel1_x1_lvt.add(gdstk.Reference(nfet, (22.71,14.19), rotation=pi, x_reflection=True))
rovcel1_x1_lvt.add(gdstk.Reference(pfet_4, (11.51,20.27)))
rovcel1_x1_lvt.add(gdstk.Reference(vias_gen_33, (14.575,18.845)))
rovcel1_x1_lvt.add(gdstk.Reference(nfet, (13.345,14.19), rotation=pi, x_reflection=True))
rovcel1_x1_lvt.add(gdstk.Reference(vias_gen_33, (13.275,18.845)))
rovcel1_x1_lvt.add(gdstk.Reference(vias_gen_33, (11.975,18.845)))
rovcel1_x1_lvt.add(gdstk.Reference(vias_gen_33, (10.675,18.845)))
rovcel1_x1_lvt.add(gdstk.Reference(vias_gen_33, (9.375,18.845)))
rovcel1_x1_lvt.add(gdstk.Reference(nfet, (12.225,14.19), rotation=pi, x_reflection=True))
rovcel1_x1_lvt.add(gdstk.Reference(nfet, (8.665,14.19), rotation=pi, x_reflection=True))
rovcel1_x1_lvt.add(gdstk.Reference(pfet_4, (12.16,20.27)))
rovcel1_x1_lvt.add(gdstk.Reference(pfet_4, (12.81,20.27)))
rovcel1_x1_lvt.add(gdstk.Reference(pfet_4, (3.45,20.27)))
rovcel1_x1_lvt.add(gdstk.Reference(pfet_4, (2.8,20.27)))
rovcel1_x1_lvt.add(gdstk.Reference(pfet_4, (1.56,20.27)))
rovcel1_x1_lvt.add(gdstk.Reference(vias_gen_30, (2.23,14.375)))
rovcel1_x1_lvt.add(gdstk.Reference(vias_gen_16, (3.765,20.34), rotation=pi/2))
rovcel1_x1_lvt.add(gdstk.Reference(pfet_4, (0.91,20.27)))
rovcel1_x1_lvt.add(gdstk.Reference(nfet, (3.72,14.19), rotation=pi, x_reflection=True))
rovcel1_x1_lvt.add(gdstk.Reference(vias_gen_36, (4.675,18.845)))
rovcel1_x1_lvt.add(gdstk.Reference(vias_gen_43, (11.175,20.32), rotation=pi/2))
rovcel1_x1_lvt.add(gdstk.Reference(vias_gen_43, (9.875,20.32), rotation=pi/2))
rovcel1_x1_lvt.add(gdstk.Reference(vias_gen_33, (8.075,18.845)))
rovcel1_x1_lvt.add(gdstk.Reference(vias_gen_33, (6.775,18.845)))
rovcel1_x1_lvt.add(gdstk.Reference(vias_gen_33, (5.475,18.845)))
rovcel1_x1_lvt.add(gdstk.Reference(vias_gen_43, (8.575,20.32), rotation=pi/2))
rovcel1_x1_lvt.add(gdstk.Reference(vias_gen_34, (1.375,17.8)))
rovcel1_x1_lvt.add(gdstk.Reference(vias_gen_43, (7.275,20.32), rotation=pi/2))
rovcel1_x1_lvt.add(gdstk.Reference(vias_gen_31, (3.435,17.8)))
rovcel1_x1_lvt.add(gdstk.Reference(vias_gen_43, (4.465,20.32), rotation=pi/2))
rovcel1_x1_lvt.add(gdstk.Reference(vias_gen_12, (3.905,14.375), rotation=pi/2))
rovcel1_x1_lvt.add(gdstk.Reference(vias_gen_12, (1.825,14.375), rotation=pi/2))
rovcel1_x1_lvt.add(gdstk.Reference(vias_gen_33, (2.915,17.4)))
rovcel1_x1_lvt.add(gdstk.Reference(vias_gen_33, (1.705,17.4)))
rovcel1_x1_lvt.add(gdstk.Reference(vias_gen_33, (6.74,17.4)))
rovcel1_x1_lvt.add(gdstk.Reference(vias_gen_55, (2.245,20.32)))
rovcel1_x1_lvt.add(gdstk.Reference(vias_gen_33, (14.88,17.4)))
rovcel1_x1_lvt.add(gdstk.Reference(vias_gen_56, (0.845,20.32)))
rovcel1_x1_lvt.add(gdstk.Reference(nfet, (14.565,14.19), rotation=pi, x_reflection=True))
rovcel1_x1_lvt.add(gdstk.Reference(nfet, (2.51,14.19), rotation=pi, x_reflection=True))
rovcel1_x1_lvt.add(gdstk.Reference(vias_gen_33, (6.74,17.4)))
rovcel1_x1_lvt.add(gdstk.Reference(vias_gen_28, (9.2,14.375), rotation=pi/2))
rovcel1_x1_lvt.add(gdstk.Reference(pfet_4, (13.46,20.27)))
rovcel1_x1_lvt.add(gdstk.Reference(vias_gen_43, (15.075,20.32), rotation=pi/2))
rovcel1_x1_lvt.add(gdstk.Reference(vias_gen_43, (13.775,20.32), rotation=pi/2))
rovcel1_x1_lvt.add(gdstk.Reference(vias_gen_43, (12.475,20.32), rotation=pi/2))
rovcel1_x1_lvt.add(gdstk.Reference(vias_gen_43, (5.975,20.32), rotation=pi/2))
rovcel1_x1_lvt.add(gdstk.Reference(vias_gen_16, (1.875,20.34), rotation=pi/2))
rovcel1_x1_lvt.add(gdstk.Reference(pfet_4, (5.66,20.27)))
rovcel1_x1_lvt.add(gdstk.Reference(pfet_4, (5.01,20.27)))
rovcel1_x1_lvt.add(gdstk.Reference(pfet_4, (6.31,20.27)))
rovcel1_x1_lvt.add(gdstk.Reference(pfet_4, (6.96,20.27)))
rovcel1_x1_lvt.add(gdstk.Reference(pfet_4, (8.26,20.27)))
rovcel1_x1_lvt.add(gdstk.Reference(pfet_4, (7.61,20.27)))
rovcel1_x1_lvt.add(gdstk.Reference(pfet_4, (8.91,20.27)))
rovcel1_x1_lvt.add(gdstk.Reference(pfet_4, (9.56,20.27)))
rovcel1_x1_lvt.add(gdstk.Reference(pfet_4, (10.86,20.27)))
rovcel1_x1_lvt.add(gdstk.Reference(pfet_4, (10.21,20.27)))
rovcel1_x1_lvt.add(gdstk.Reference(vias_gen_33, (13.76,17.4)))
rovcel1_x1_lvt.add(gdstk.Reference(vias_gen_33, (12.54,17.4)))
rovcel1_x1_lvt.add(gdstk.Reference(vias_gen_33, (11.42,17.4)))
rovcel1_x1_lvt.add(gdstk.Reference(vias_gen_33, (10.2,17.4)))
rovcel1_x1_lvt.add(gdstk.Reference(vias_gen_27, (6.86,14.375), rotation=pi/2))
rovcel1_x1_lvt.add(gdstk.Reference(vias_gen_33, (9.08,17.4)))
rovcel1_x1_lvt.add(gdstk.Reference(vias_gen_33, (7.86,17.4)))
rovcel1_x1_lvt.add(gdstk.Reference(vias_gen_33, (7.86,17.4)))
rovcel1_x1_lvt.add(gdstk.Reference(nfet, (7.545,14.19), rotation=pi, x_reflection=True))
rovcel1_x1_lvt.add(gdstk.Reference(vias_gen_28, (11.54,14.375), rotation=pi/2))
rovcel1_x1_lvt.add(gdstk.Reference(nfet, (11.005,14.19), rotation=pi, x_reflection=True))
rovcel1_x1_lvt.add(gdstk.Reference(nfet, (9.885,14.19), rotation=pi, x_reflection=True))
rovcel1_x1_lvt.add(gdstk.Reference(pfet_4, (14.11,20.27)))
rovcel1_x1_lvt.add(gdstk.Reference(vias_gen_28, (13.88,14.375), rotation=pi/2))
rovcel1_x1_lvt.add(gdstk.Reference(vias_gen, (-7.845,-4.64)))
rovcel1_x1_lvt.add(gdstk.Reference(pfet_2, (-6.27,2.495)))
rovcel1_x1_lvt.add(gdstk.Reference(vias_gen_2, (-6.405,0.6)))
rovcel1_x1_lvt.add(gdstk.Reference(vias_gen_10, (-5.955,2.565), rotation=pi/2))
rovcel1_x1_lvt.add(gdstk.Reference(pfet_2, (-6.92,2.495)))
rovcel1_x1_lvt.add(gdstk.Reference(pfet_2, (-5.03,2.49)))
rovcel1_x1_lvt.add(gdstk.Reference(vias_gen_10, (-4.065,2.565), rotation=pi/2))
rovcel1_x1_lvt.add(gdstk.Reference(vias_gen_2, (-4.395,0.6)))
rovcel1_x1_lvt.add(gdstk.Reference(vias_gen_7, (-3.955,-3.4), rotation=pi/2))
rovcel1_x1_lvt.add(gdstk.Reference(vias_gen_6, (-4.86,-0.34)))
rovcel1_x1_lvt.add(gdstk.Reference(pfet_2, (-4.38,2.49)))
rovcel1_x1_lvt.add(gdstk.Reference(vias_gen_6, (-3.945,-0.34)))
rovcel1_x1_lvt.add(gdstk.Reference(nfet_2, (-4.205,-3.585), rotation=pi, x_reflection=True))
rovcel1_x1_lvt.add(gdstk.Reference(vias_gen, (-7.835,7.67)))
rovcel1_x1_lvt.add(gdstk.Reference(nfet_2, (-5.225,-3.585), rotation=pi, x_reflection=True))
rovcel1_x1_lvt.add(gdstk.Reference(vias_gen_7, (-5.965,-3.4), rotation=pi/2))
rovcel1_x1_lvt.add(gdstk.Reference(vias_gen_6, (-6.775,-0.34)))
rovcel1_x1_lvt.add(gdstk.Reference(vias_gen_6, (-5.87,-0.34)))
rovcel1_x1_lvt.add(gdstk.Label('VDD', (0.165,25.77), layer=69, texttype=5))
rovcel1_x1_lvt.add(gdstk.Label('IN', (0.29,18.01), layer=69, texttype=5))
rovcel1_x1_lvt.add(gdstk.Label('IN', (0.29,18.01), layer=69, texttype=5))
rovcel1_x1_lvt.add(gdstk.Label('GND', (0.285,13.46), layer=69, texttype=5))
rovcel1_x1_lvt.add(gdstk.Label('OUT', (38.77,18.25), layer=69, texttype=5))
rovcel1_x1_lvt.add(gdstk.Label('DUT_Header', (30.705,14.38), layer=70, texttype=5))
rovcel1_x1_lvt.add(gdstk.Label('DUT_Footer', (5.065,14.38), layer=70, texttype=5))
rovcel1_x1_lvt.add(gdstk.Label('RO', (31.495,14.385), layer=70, texttype=5))
rovcel1_x1_lvt.add(gdstk.Label('RON', (37.96,14.385), layer=70, texttype=5))
rovcel1_x1_lvt.add(gdstk.Label('Drain_Force', (32.295,14.385), layer=70, texttype=5))
rovcel1_x1_lvt.add(gdstk.Label('Drain_Sense', (38.76,14.385), layer=70, texttype=5))

lib.write_gds('rovcel1_x1_LVT.gds')
